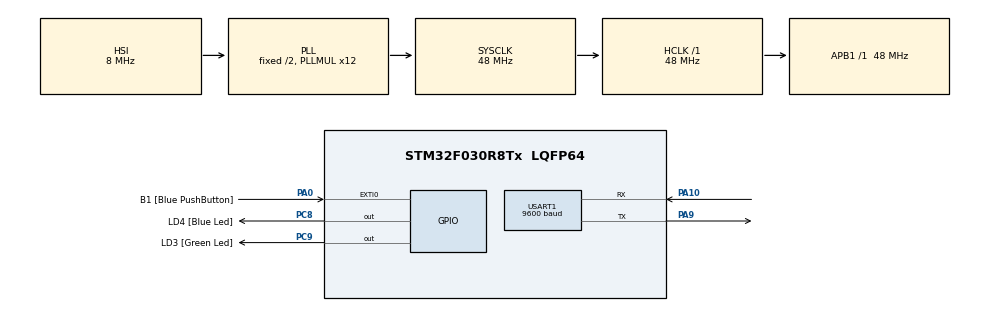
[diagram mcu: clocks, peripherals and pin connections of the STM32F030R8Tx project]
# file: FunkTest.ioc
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Mcu.Family=STM32F0
Mcu.Name=STM32F030R8Tx
Mcu.Package=LQFP64
NVIC.TIM14_IRQn=true\:0\:0\:false\:false\:true\:true\:true
NVIC.TIM3_IRQn=true\:0\:0\:false\:false\:true\:true\:true
PA0.GPIO_Label=B1 [Blue PushButton]
PA0.GPIO_ModeDefaultEXTI=GPIO_MODE_EVT_RISING
PA0.Signal=GPXTI0
PA10.Mode=Asynchronous
PA10.Signal=USART1_RX
PA13.GPIO_Label=SWDIO
PA13.Mode=Serial_Wire
PA13.Signal=SYS_SWDIO
PA14.GPIO_Label=SWCLK
PA14.Mode=Serial_Wire
PA14.Signal=SYS_SWCLK
PA9.Mode=Asynchronous
PA9.Signal=USART1_TX
PC8.GPIO_Label=LD4 [Blue Led]
PC8.Signal=GPIO_Output
PC9.GPIO_Label=LD3 [Green Led]
PC9.Signal=GPIO_Output
ProjectManager.HeapSize=0x200
ProjectManager.StackSize=0x400
ProjectManager.TargetToolchain=STM32CubeIDE
RCC.AHBFreq_Value=48000000
RCC.APB1Freq_Value=48000000
RCC.APB1TimFreq_Value=48000000
RCC.HCLKFreq_Value=48000000
RCC.PLLMUL=RCC_PLL_MUL12
RCC.SYSCLKFreq_VALUE=48000000
RCC.SYSCLKSource=RCC_SYSCLKSOURCE_PLLCLK
TIM14.Period=2000
TIM14.Prescaler=48000
TIM3.Period=100
TIM3.Prescaler=48000
USART1.BaudRate=9600
USART1.VirtualMode-Asynchronous=VM_ASYNC
VP_TIM14_VS_ClockSourceINT.Mode=Enable_Timer
VP_TIM3_VS_ClockSourceITR.Mode=TriggerSource_ITR0
VP_TIM3_VS_ControllerModeTrigger.Mode=Trigger Mode
board=STM32F0308-DISCO

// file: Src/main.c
/* USER CODE BEGIN Header */
/**
  ******************************************************************************
  * @file           : main.c
  * @brief          : Main program body
  ******************************************************************************
  * @attention
  *
  * <h2><center>&copy; Copyright (c) 2020 STMicroelectronics.
  * All rights reserved.</center></h2>
  *
  * This software component is licensed by ST under BSD 3-Clause license,
  * the "License"; You may not use this file except in compliance with the
  * License. You may obtain a copy of the License at:
  *                        opensource.org/licenses/BSD-3-Clause
  *
  ******************************************************************************
  */
/* USER CODE END Header */

#include "main.h"
#include "tim.h"
#include "usart.h"
#include "gpio.h"

void SystemClock_Config(void);

int main(void)
{

  /* MCU Configuration--------------------------------------------------------*/

  /* Reset of all peripherals, Initializes the Flash interface and the Systick. */
  HAL_Init();

  /* Configure the system clock */
  SystemClock_Config();

  /* Initialize all configured peripherals */
  MX_GPIO_Init();
  MX_TIM14_Init();
  MX_USART1_UART_Init();
  MX_TIM3_Init();
  /* USER CODE BEGIN 2 */

  TIM3->DIER |= TIM_DIER_UIE;
  TIM3->CR1  |= TIM_CR1_CEN;

  TIM14->DIER |= TIM_DIER_UIE;
  TIM14->CR1  |= TIM_CR1_CEN;

  BufInit(&uartBuf,512);

  /* USER CODE END 2 */

  /* Infinite loop */
  while (1)
  {

    /* USER CODE BEGIN 3 */

//	  for(uint16_t i = 0; i < uartBuf.size; i++){
//		switch(i){
//		case 10: BufPut(&uartBuf,'P'); break;
//		case 11: BufPut(&uartBuf,'S'); break;
//		case 12: BufPut(&uartBuf,'D'); break;
//		case 13: BufPut(&uartBuf,'H'); break;
//		case 14: BufPut(&uartBuf,'E'); break;
//		case 15: BufPut(&uartBuf,'L'); break;
//		case 16: BufPut(&uartBuf,'L'); break;
//		case 17: BufPut(&uartBuf,'O'); break;
//
//		case 36: BufPut(&uartBuf,'P'); break;
//		case 37: BufPut(&uartBuf,'S'); break;
//		case 38: BufPut(&uartBuf,'D'); break;
//		case 39: BufPut(&uartBuf,'W'); break;
//		case 40: BufPut(&uartBuf,'O'); break;
//		case 41: BufPut(&uartBuf,'R'); break;
//		case 42: BufPut(&uartBuf,'L'); break;
//		case 43: BufPut(&uartBuf,'D'); break;
//		default: BufPut(&uartBuf,'h'); break;
//		}
//	  }

  }
  /* USER CODE END 3 */
}

void SystemClock_Config(void)
{
  RCC_OscInitTypeDef RCC_OscInitStruct = {0};
  RCC_ClkInitTypeDef RCC_ClkInitStruct = {0};
  RCC_PeriphCLKInitTypeDef PeriphClkInit = {0};

  /** Initializes the CPU, AHB and APB busses clocks
  */
  RCC_OscInitStruct.OscillatorType = RCC_OSCILLATORTYPE_HSI;
  RCC_OscInitStruct.HSIState = RCC_HSI_ON;
  RCC_OscInitStruct.HSICalibrationValue = RCC_HSICALIBRATION_DEFAULT;
  RCC_OscInitStruct.PLL.PLLState = RCC_PLL_ON;
  RCC_OscInitStruct.PLL.PLLSource = RCC_PLLSOURCE_HSI;
  RCC_OscInitStruct.PLL.PLLMUL = RCC_PLL_MUL12;
  RCC_OscInitStruct.PLL.PREDIV = RCC_PREDIV_DIV1;
  if (HAL_RCC_OscConfig(&RCC_OscInitStruct) != HAL_OK)
  {
    Error_Handler();
  }
  /** Initializes the CPU, AHB and APB busses clocks
  */
  RCC_ClkInitStruct.ClockType = RCC_CLOCKTYPE_HCLK|RCC_CLOCKTYPE_SYSCLK
                              |RCC_CLOCKTYPE_PCLK1;
  RCC_ClkInitStruct.SYSCLKSource = RCC_SYSCLKSOURCE_PLLCLK;
  RCC_ClkInitStruct.AHBCLKDivider = RCC_SYSCLK_DIV1;
  RCC_ClkInitStruct.APB1CLKDivider = RCC_HCLK_DIV1;

  if (HAL_RCC_ClockConfig(&RCC_ClkInitStruct, FLASH_LATENCY_1) != HAL_OK)
  {
    Error_Handler();
  }
  PeriphClkInit.PeriphClockSelection = RCC_PERIPHCLK_USART1;
  PeriphClkInit.Usart1ClockSelection = RCC_USART1CLKSOURCE_PCLK1;
  if (HAL_RCCEx_PeriphCLKConfig(&PeriphClkInit) != HAL_OK)
  {
    Error_Handler();
  }
}

/* USER CODE BEGIN 4 */

void BufInit(Buffer *buf, uint16_t size){
	buf->size = size;
	buf->buffer = (uint8_t*) malloc(size);
	buf->tail = 0;
	buf->head = 0;
	buf->count = 0;
}

void BufPut(Buffer *buf, uint8_t data){
	buf->buffer[buf->tail] = data;
	if(buf->count < buf->size){
		buf->count++;
	}
	else {
		buf->head = buf->tail + 1;
	}
	buf->tail = (buf->tail < buf->size) ? buf->tail + 1 : 0;
}
uint8_t BufPop(Buffer *buf){
	uint8_t data = buf->buffer[buf->head++];
	buf->count--;
	buf->head = (buf->head < buf->size) ? buf->head : 0;
	return data;
}

void ClearBuf(Buffer *buf){
	buf->count = 0;
	buf->tail = 0;
	buf->head = 0;
}

uint8_t BufFindStart(Buffer *buf){
	uint16_t count = buf->head;

	while(count != buf->size){

		if (buf->buffer[count] == 'P' && buf->buffer[count + 1] == 'S' &&  buf->buffer[count + 2] == 'D'){
			buf->PSDpointer = count + 3;
			return 1;
		}
		count = (count < buf->size) ? count + 1 : 0;
	}
	return 0;
}

/* USER CODE END 4 */

void Error_Handler(void)
{
}

/************************ (C) COPYRIGHT STMicroelectronics *****END OF FILE****/
